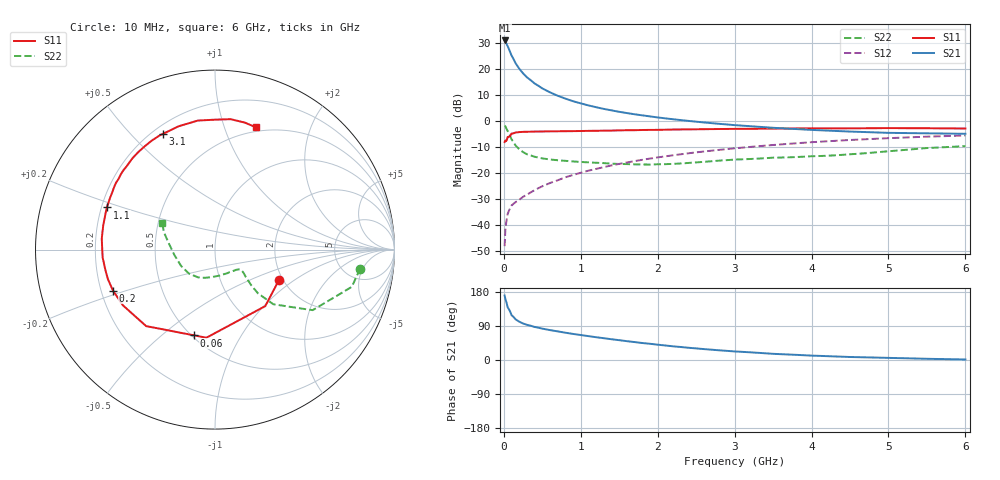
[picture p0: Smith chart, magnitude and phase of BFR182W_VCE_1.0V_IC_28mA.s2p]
! Infineon Technologies  Discrete & RF Semiconductors
! BFR182W
! VCE =  1.0 V,  IC =  28 mA
! Common Emitter S-Parameters:  Jan 2017
# GHz  S  MA  R  50
!  f  S11  S21  S12  S22
! GHz  MAG  ANG  MAG  ANG  MAG  ANG  MAG  ANG
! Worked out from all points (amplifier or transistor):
!   77 points, 10 MHz to 6 GHz, reference 50 ohm
!   highest |S21| = 31.0 dB at 10 MHz (marker M1)
!   |S21| within 3 dB of that: start of sweep to 61.57 MHz
!   unconditionally stable (mu >= 1): start of sweep to 10.5 MHz; 255 MHz to end of sweep
!   at 130 MHz: K = 0.69, MSG = 27.7 dB, |S12| = -31.7 dB
!   at 2.2 GHz: K = 1.15, MAG = 4.6 dB, |S12| = -13.2 dB
!   at 6 GHz: K = 1.09, MAG = -1.5 dB, |S12| = -5.6 dB
!   S11 on the Smith chart (normalised r, x): 10 MHz: 1.91, -0.76; 60 MHz: 0.51, -0.65; 200 MHz: 0.25, -0.18; 1.1 GHz: 0.22, +0.18; 3.1 GHz: 0.24, +0.62; 6 GHz: 0.46, +1.29
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0.01  0.3946 -25.4  35.57 170.2  0.0039 74.5  0.8155 -7.5
0.02  0.4214 -48.3  34.77 161.1  0.0081 74.1  0.7901 -15.2
0.05  0.4934 -95.6  27.56 138.8  0.0164 57.9  0.6402 -31.8
0.06  0.4918 -103.6  25.5 135.9  0.0178 56.2  0.5999 -33.5
0.1  0.5735 -132.0  18.29 118.2  0.0237 51.4  0.4461 -43.1
0.15  0.5997 -148.8  13.17 107.7  0.0273 50.8  0.3417 -45.5
0.2  0.6126 -158.1  10.18 101.1  0.0304 52.8  0.286 -44.6
0.25  0.619 -164.6  8.279 96.3  0.0348 54.4  0.2523 -43.0
0.3  0.6211 -169.3  6.946 92.9  0.0382 56.6  0.2295 -41.6
0.4  0.6276 -176.1  5.283 87.2  0.0467 61.1  0.2053 -39.2
0.5  0.6289 178.8  4.248 82.8  0.0555 64.0  0.1909 -38.2
0.6  0.6338 174.5  3.567 78.9  0.0641 65.4  0.182 -38.2
0.7  0.6348 171.0  3.07 75.5  0.0724 67.1  0.1759 -38.6
0.9  0.639 164.4  2.406 68.8  0.0916 68.1  0.167 -41.9
1.1  0.6468 158.7  1.999 63.0  0.1109 68.5  0.16 -46.2
1.5  0.6607 148.5  1.505 52.3  0.1495 66.9  0.149 -58.7
2.1  0.6807 134.4  1.126 38.3  0.2092 62.7  0.1478 -85.3
2.6  0.6964 124.0  0.939 28.8  0.2592 58.0  0.1639 -107.3
3.1  0.7071 114.1  0.815 21.5  0.3077 52.7  0.1831 -124.8
4.1  0.7239 96.0  0.665 10.9  0.3993 41.3  0.2118 -158.3
5.1  0.7301 81.9  0.59 5.1  0.4742 29.5  0.2693 169.1
6  0.7182 71.5  0.568 1.4  0.5273 19.4  0.3292 153.0
